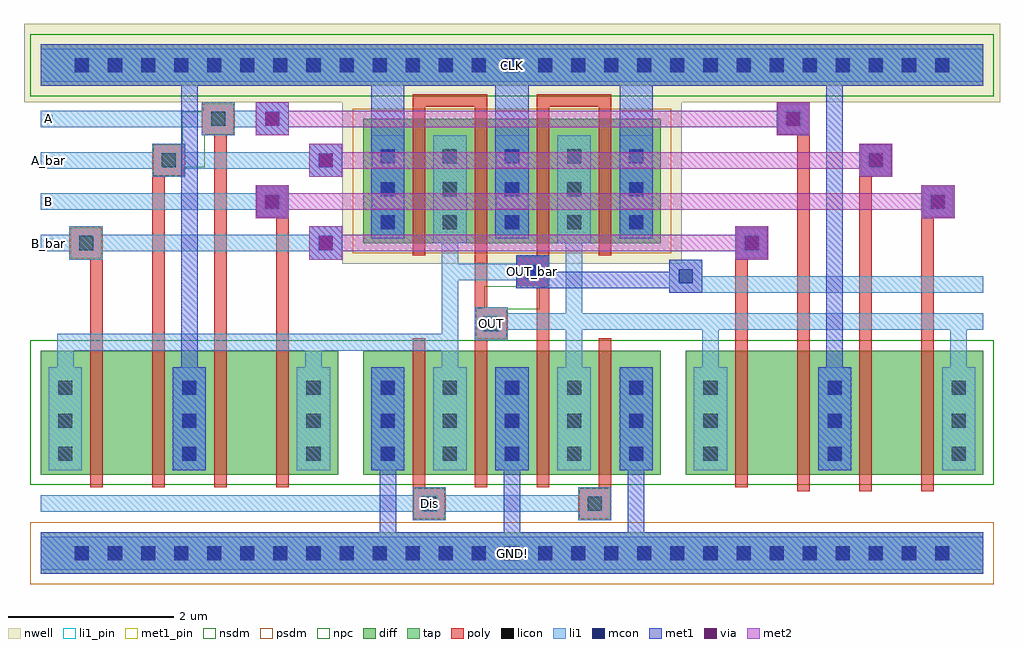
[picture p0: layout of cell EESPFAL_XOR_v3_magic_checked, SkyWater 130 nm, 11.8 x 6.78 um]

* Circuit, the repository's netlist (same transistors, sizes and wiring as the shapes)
* NGSPICE file created from EESPFAL_XOR_v3_magic_checked.ext - technology: sky130A

.subckt EESPFAL_XOR_v3_magic_checked OUT A A_bar B B_bar Dis OUT_bar GND CLK
X0 CLK OUT OUT_bar CLK sky130_fd_pr__pfet_01v8 ad=2.7e+12p pd=1.26e+07u as=9e+11p ps=4.2e+06u w=1.5e+06u l=150000u M=2
X1 OUT_bar Dis GND GND sky130_fd_pr__nfet_01v8 ad=2.7e+12p pd=1.26e+07u as=2.7e+12p ps=1.26e+07u w=1.5e+06u l=150000u
X2 a_n840_410# A CLK GND sky130_fd_pr__nfet_01v8 ad=9e+11p pd=4.2e+06u as=7.5e+12p ps=3.22e+07u w=1.5e+06u l=150000u
X3 a_n1140_410# B_bar OUT_bar GND sky130_fd_pr__nfet_01v8 ad=9e+11p pd=4.2e+06u as=0p ps=0u w=1.5e+06u l=150000u
X4 a_420_410# B_bar OUT GND sky130_fd_pr__nfet_01v8 ad=9e+11p pd=4.2e+06u as=2.7e+12p ps=1.26e+07u w=1.5e+06u l=150000u
X5 GND Dis OUT GND sky130_fd_pr__nfet_01v8 ad=0p pd=0u as=0p ps=0u w=1.5e+06u l=150000u
X6 OUT OUT_bar CLK CLK sky130_fd_pr__pfet_01v8 ad=9e+11p pd=4.2e+06u as=0p ps=0u w=1.5e+06u l=150000u M=2
X7 a_720_410# A_bar CLK GND sky130_fd_pr__nfet_01v8 ad=9e+11p pd=4.2e+06u as=0p ps=0u w=1.5e+06u l=150000u
X8 OUT_bar B a_n840_410# GND sky130_fd_pr__nfet_01v8 ad=0p pd=0u as=0p ps=0u w=1.5e+06u l=150000u
X9 GND OUT OUT_bar GND sky130_fd_pr__nfet_01v8 ad=0p pd=0u as=0p ps=0u w=1.5e+06u l=150000u
X10 CLK A_bar a_n1140_410# GND sky130_fd_pr__nfet_01v8 ad=0p pd=0u as=0p ps=0u w=1.5e+06u l=150000u
X11 OUT OUT_bar GND GND sky130_fd_pr__nfet_01v8 ad=0p pd=0u as=0p ps=0u w=1.5e+06u l=150000u
X12 CLK A a_420_410# GND sky130_fd_pr__nfet_01v8 ad=0p pd=0u as=0p ps=0u w=1.5e+06u l=150000u
X13 OUT B a_720_410# GND sky130_fd_pr__nfet_01v8 ad=0p pd=0u as=0p ps=0u w=1.5e+06u l=150000u
.ends

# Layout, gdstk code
import gdstk
lib = gdstk.Library(unit=1e-6, precision=1e-09)
def R(c, l, rs):  # rectangles x0, y0, x1, y1
    for r in rs: c.add(gdstk.rectangle(r[:2], r[2:], *l))
def A(c, l, x, y, w, h, nx, ny, dx, dy):  # array of equal rectangles
    R(c, l, [(x+i*dx, y+j*dy, x+i*dx+w, y+j*dy+h) for i in range(nx) for j in range(ny)])
nwell = (64, 20)
diff = (65, 20)
tap = (65, 44)
poly = (66, 20)
licon = (66, 44)
li1_pin = (67, 16)
li1 = (67, 20)
mcon = (67, 44)
met1_pin = (68, 16)
met1 = (68, 20)
via = (68, 44)
met2 = (69, 20)
nsdm = (93, 44)
psdm = (94, 20)
npc = (95, 20)

eespfal_xor_v3_magic_che = lib.new_cell('EESPFAL_XOR_v3_magic_checked')
R(eespfal_xor_v3_magic_che, nwell, [(-2.8,4.6,1.3,6.55), (-6.65,6.55,5.15,7.5)])
A(eespfal_xor_v3_magic_che, diff, -6.45, 2.05, 3.6, 1.5, 3, 1, 3.9, 0)
R(eespfal_xor_v3_magic_che, diff, [(-2.55,4.85,1.05,6.35)])
R(eespfal_xor_v3_magic_che, tap, [(-6.45,0.85,4.95,1.35), (-6.45,6.75,4.95,7.25)])
R(eespfal_xor_v3_magic_che, poly, [(-1.95,1.5,-1.55,1.9), (0.05,1.5,0.45,1.9), (2.7,1.85,2.85,6.15), (3.45,1.85,3.6,5.65), (4.2,1.85,4.35,5.15), (-5.85,1.9,-5.7,4.65), (-5.1,1.9,-4.95,5.65), (-4.35,1.9,-4.2,6.15), (-3.6,1.9,-3.45,5.15), (-1.95,1.9,-1.8,3.7), (-1.2,1.9,-1.05,3.675), (-0.45,1.9,-0.3,4.3), (0.3,1.9,0.45,3.7), (1.95,1.9,2.1,4.65), (-1.2,3.675,-0.8,4.075), (-1.2,4.075,-1.05,6.5), (-0.7,4.3,-0.3,4.7), (-6.1,4.65,-5.7,5.05), (1.95,4.65,2.35,5.05), (-1.95,4.7,-1.8,6.5), (-0.45,4.7,-0.3,6.5), (0.3,4.7,0.45,6.5), (-3.85,5.15,-3.45,5.55), (4.2,5.15,4.6,5.55), (-5.1,5.65,-4.7,6.05), (3.45,5.65,3.85,6.05), (-4.5,6.15,-4.1,6.55), (2.45,6.15,2.85,6.55), (-1.95,6.5,-1.05,6.65), (-0.45,6.5,0.45,6.65)])
A(eespfal_xor_v3_magic_che, licon, -6.035, 1.015, 0.17, 0.17, 27, 2, 0.4, 5.9)
A(eespfal_xor_v3_magic_che, licon, -6.235, 2.215, 0.17, 0.17, 3, 3, 1.5, 0.4)
A(eespfal_xor_v3_magic_che, licon, -2.335, 2.215, 0.17, 0.17, 5, 3, 0.75, 0.4)
A(eespfal_xor_v3_magic_che, licon, 1.565, 2.215, 0.17, 0.17, 3, 3, 1.5, 0.4)
A(eespfal_xor_v3_magic_che, licon, -2.335, 5.015, 0.17, 0.17, 5, 3, 0.75, 0.4)
R(eespfal_xor_v3_magic_che, licon, [(-1.835,1.615,-1.665,1.785), (0.165,1.615,0.335,1.785), (-1.085,3.79,-0.915,3.96), (-0.585,4.415,-0.415,4.585), (-5.985,4.765,-5.815,4.935), (2.065,4.765,2.235,4.935), (-3.735,5.265,-3.565,5.435), (4.315,5.265,4.485,5.435), (-4.985,5.765,-4.815,5.935), (3.565,5.765,3.735,5.935), (-4.385,6.265,-4.215,6.435), (2.565,6.265,2.735,6.435)])
A(eespfal_xor_v3_magic_che, li1_pin, -6.4, 4.8, 0.1, 0.1, 1, 4, 0, 0.5)
R(eespfal_xor_v3_magic_che, li1_pin, [(-1.85,1.6,-1.65,1.8), (-1.1,3.775,-0.9,3.975)])
A(eespfal_xor_v3_magic_che, li1, -6.35, 2.1, 0.4, 1.25, 3, 1, 1.5, 0)
A(eespfal_xor_v3_magic_che, li1, -2.45, 2.1, 0.4, 1.25, 5, 1, 0.75, 0)
A(eespfal_xor_v3_magic_che, li1, 1.45, 2.1, 0.4, 1.25, 3, 1, 1.5, 0)
A(eespfal_xor_v3_magic_che, li1, -2.45, 4.9, 0.4, 1.25, 3, 1, 1.5, 0)
R(eespfal_xor_v3_magic_che, li1, [(-6.45,0.9,4.95,1.3), (-1.95,1.5,-1.55,1.6), (0.05,1.5,0.45,1.6), (-6.45,1.6,0.45,1.8), (-1.95,1.8,-1.55,1.9), (0.05,1.8,0.45,1.9), (-6.25,3.35,-6.05,3.55), (-3.25,3.35,-3.05,3.55), (-1.6,3.35,-1.4,3.55), (-0.1,3.35,0.1,3.8), (1.55,3.35,1.75,3.8), (4.55,3.35,4.75,3.8), (-6.25,3.55,-1.4,3.75), (-1.2,3.675,-0.8,3.8), (-1.6,3.75,-1.4,4.4), (-1.2,3.8,4.95,4), (-1.2,4,-0.8,4.075), (-0.1,4,0.1,4.85), (1.15,4.25,4.95,4.45), (-0.7,4.3,-0.3,4.4), (-1.6,4.4,-0.3,4.6), (1.15,4.45,1.55,4.65), (-1.6,4.6,-1.4,4.85), (-0.7,4.6,-0.3,4.7), (-6.1,4.65,-5.7,4.75), (-3.2,4.65,-2.8,4.75), (1.95,4.65,2.35,5.05), (-6.45,4.75,-2.8,4.95), (-1.7,4.85,-1.3,6.15), (-0.2,4.85,0.2,6.15), (-6.1,4.95,-5.7,5.05), (-3.2,4.95,-2.8,5.05), (-3.85,5.15,-3.45,5.25), (4.2,5.15,4.6,5.55), (-6.45,5.25,-3.45,5.45), (-3.85,5.45,-3.45,5.55), (-5.1,5.65,-4.7,5.75), (-3.2,5.65,-2.8,5.75), (3.45,5.65,3.85,6.05), (-6.45,5.75,-2.8,5.95), (-5.1,5.95,-4.7,6.05), (-3.2,5.95,-2.8,6.05), (-4.5,6.15,-4.1,6.25), (-3.85,6.15,-3.45,6.25), (2.45,6.15,2.85,6.55), (-6.45,6.25,-3.45,6.45), (-4.5,6.45,-4.1,6.55), (-3.85,6.45,-3.45,6.55), (-6.45,6.8,4.95,7.2)])
A(eespfal_xor_v3_magic_che, mcon, -6.035, 1.015, 0.17, 0.17, 27, 2, 0.4, 5.9)
A(eespfal_xor_v3_magic_che, mcon, -4.735, 2.215, 0.17, 0.17, 1, 3, 0, 0.4)
A(eespfal_xor_v3_magic_che, mcon, -2.335, 2.215, 0.17, 0.17, 3, 3, 1.5, 0.4)
A(eespfal_xor_v3_magic_che, mcon, 3.065, 2.215, 0.17, 0.17, 1, 3, 0, 0.4)
A(eespfal_xor_v3_magic_che, mcon, -2.335, 5.015, 0.17, 0.17, 3, 3, 1.5, 0.4)
R(eespfal_xor_v3_magic_che, mcon, [(1.265,4.365,1.435,4.535), (-0.585,4.415,-0.415,4.585), (-3.085,4.765,-2.915,4.935), (2.065,4.765,2.235,4.935), (-3.735,5.265,-3.565,5.435), (4.315,5.265,4.485,5.435), (-3.085,5.765,-2.915,5.935), (3.565,5.765,3.735,5.935), (-3.735,6.265,-3.565,6.435), (2.565,6.265,2.735,6.435)])
R(eespfal_xor_v3_magic_che, met1_pin, [(-0.85,1,-0.65,1.2), (-0.6,4.4,-0.4,4.6), (-0.85,6.9,-0.65,7.1)])
A(eespfal_xor_v3_magic_che, met1, -2.35, 1.35, 0.2, 0.75, 3, 1, 1.5, 0)
A(eespfal_xor_v3_magic_che, met1, -2.45, 2.1, 0.4, 1.25, 3, 1, 1.5, 0)
A(eespfal_xor_v3_magic_che, met1, -2.45, 4.9, 0.4, 1.85, 3, 1, 1.5, 0)
R(eespfal_xor_v3_magic_che, met1, [(-6.45,0.85,4.95,1.35), (-4.85,2.1,-4.45,3.35), (2.95,2.1,3.35,3.35), (-4.75,3.35,-4.55,6.75), (3.05,3.35,3.25,6.75), (1.15,4.25,1.55,4.3), (-0.7,4.3,1.55,4.5), (-0.7,4.5,-0.3,4.7), (1.15,4.5,1.55,4.65), (-3.2,4.65,-2.8,5.05), (1.95,4.65,2.35,5.05), (-3.85,5.15,-3.45,5.55), (4.2,5.15,4.6,5.55), (-3.2,5.65,-2.8,6.05), (3.45,5.65,3.85,6.05), (-3.85,6.15,-3.45,6.55), (2.45,6.15,2.85,6.55), (-6.45,6.75,4.95,7.25)])
R(eespfal_xor_v3_magic_che, via, [(-3.075,4.775,-2.925,4.925), (2.075,4.775,2.225,4.925), (-3.725,5.275,-3.575,5.425), (4.325,5.275,4.475,5.425), (-3.075,5.775,-2.925,5.925), (3.575,5.775,3.725,5.925), (-3.725,6.275,-3.575,6.425), (2.575,6.275,2.725,6.425)])
R(eespfal_xor_v3_magic_che, met2, [(-3.2,4.65,-2.8,4.75), (1.95,4.65,2.35,4.75), (-3.2,4.75,2.35,4.95), (-3.2,4.95,-2.8,5.05), (1.95,4.95,2.35,5.05), (-3.85,5.15,-3.45,5.25), (4.2,5.15,4.6,5.25), (-3.85,5.25,4.6,5.45), (-3.85,5.45,-3.45,5.55), (4.2,5.45,4.6,5.55), (-3.2,5.65,-2.8,5.75), (3.45,5.65,3.85,5.75), (-3.2,5.75,3.85,5.95), (-3.2,5.95,-2.8,6.05), (3.45,5.95,3.85,6.05), (-3.85,6.15,-3.45,6.25), (2.45,6.15,2.85,6.25), (-3.85,6.25,2.85,6.45), (-3.85,6.45,-3.45,6.55), (2.45,6.45,2.85,6.55)])
R(eespfal_xor_v3_magic_che, nsdm, [(-6.575,1.925,5.075,3.675), (-6.575,6.625,5.075,7.375)])
R(eespfal_xor_v3_magic_che, psdm, [(-6.575,0.725,5.075,1.475), (-2.675,4.725,1.175,6.475)])
R(eespfal_xor_v3_magic_che, npc, [(-1.935,1.515,-1.565,1.885), (0.065,1.515,0.435,1.885), (-1.185,3.69,-0.815,4.05), (-1.185,4.05,-0.415,4.06), (-1.085,4.06,-0.415,4.315), (-1.085,4.315,-0.315,4.325), (-0.685,4.325,-0.315,4.685), (-6.085,4.665,-5.715,5.035), (1.965,4.665,2.335,5.035), (-3.835,5.165,-3.465,5.535), (4.215,5.165,4.585,5.535), (-5.085,5.665,-4.715,5.765), (3.465,5.665,3.835,6.035), (-5.085,5.765,-4.465,6.035), (-4.735,6.035,-4.465,6.165), (-4.735,6.165,-4.115,6.435), (2.465,6.165,2.835,6.535), (-4.485,6.435,-4.115,6.535)])
eespfal_xor_v3_magic_che.add(gdstk.Label('OUT', (-1,3.875), layer=67, texttype=16))
eespfal_xor_v3_magic_che.add(gdstk.Label('A', (-6.35,6.35), layer=67, texttype=16))
eespfal_xor_v3_magic_che.add(gdstk.Label('A_bar', (-6.35,5.85), layer=67, texttype=16))
eespfal_xor_v3_magic_che.add(gdstk.Label('B', (-6.35,5.35), layer=67, texttype=16))
eespfal_xor_v3_magic_che.add(gdstk.Label('B_bar', (-6.35,4.85), layer=67, texttype=16))
eespfal_xor_v3_magic_che.add(gdstk.Label('Dis', (-1.75,1.7), layer=67, texttype=16))
eespfal_xor_v3_magic_che.add(gdstk.Label('OUT_bar', (-0.5,4.5), layer=68, texttype=16))
eespfal_xor_v3_magic_che.add(gdstk.Label('GND!', (-0.75,1.1), layer=68, texttype=16))
eespfal_xor_v3_magic_che.add(gdstk.Label('CLK', (-0.75,7), layer=68, texttype=16))

lib.write_gds('EESPFAL_XOR_v3_magic_checked.gds')
